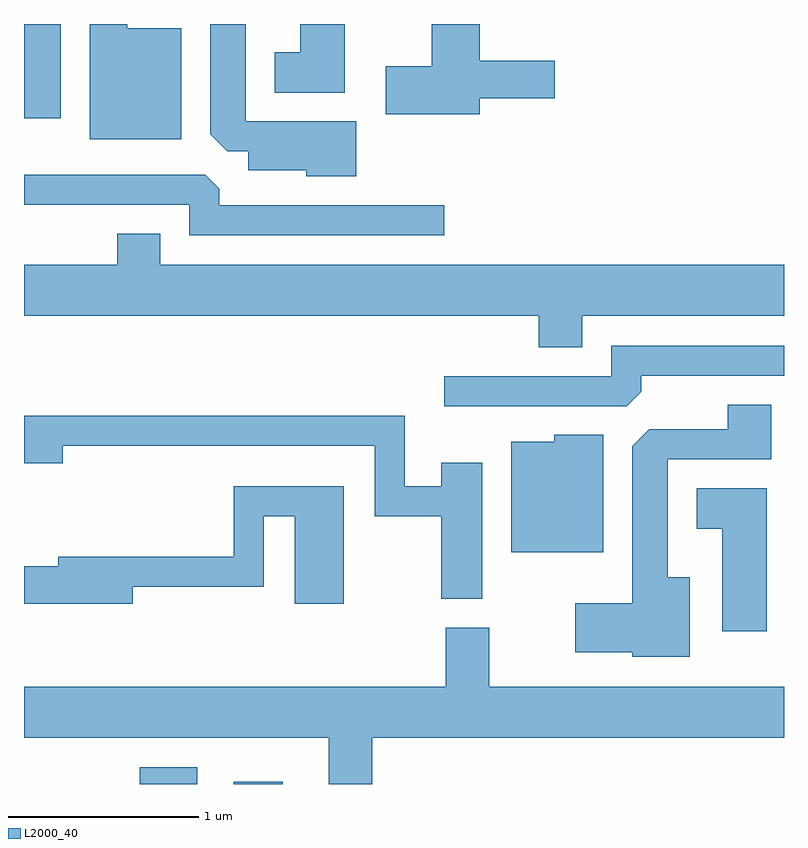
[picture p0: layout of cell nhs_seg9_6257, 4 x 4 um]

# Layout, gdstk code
import gdstk
lib = gdstk.Library(unit=1e-6, precision=1e-09)
def R(c, l, rs):  # rectangles x0, y0, x1, y1
    for r in rs: c.add(gdstk.rectangle(r[:2], r[2:], *l))
def P(c, l, *ps):  # polygons
    for p in ps: c.add(gdstk.Polygon(p, *l))
L2000_40 = (2000, 40)

nhs_seg9_6257 = lib.new_cell('nhs_seg9_6257')
R(nhs_seg9_6257, L2000_40, [(370.221,2020.432,370.524,2020.519), (370.716,2020.432,370.974,2020.444), (369.611,2023.936,369.804,2024.432)])
P(nhs_seg9_6257, L2000_40, [(371.299,2024.432),(371.066,2024.432),(371.066,2024.284),(370.931,2024.284),(370.931,2024.071),(371.299,2024.071)],
  [(370.439,2024.409),(370.154,2024.409),(370.154,2024.432),(369.956,2024.432),(369.956,2023.826),(370.439,2023.826)],
  [(371.359,2023.919),(370.779,2023.919),(370.779,2024.432),(370.591,2024.432),(370.591,2023.852),(370.682,2023.761),(370.791,2023.761),(370.791,2023.661),(371.096,2023.661),(371.096,2023.631),(371.359,2023.631)],
  [(372.009,2024.041),(372.404,2024.041),(372.404,2024.239),(372.009,2024.239),(372.009,2024.432),(371.756,2024.432),(371.756,2024.209),(371.516,2024.209),(371.516,2023.956),(372.009,2023.956)],
  [(371.823,2023.479),(370.639,2023.479),(370.639,2023.564),(370.564,2023.639),(369.611,2023.639),(369.611,2023.481),(370.481,2023.481),(370.481,2023.321),(371.823,2023.321)],
  [(372.549,2022.896),(373.611,2022.896),(373.611,2023.164),(370.329,2023.164),(370.329,2023.329),(370.101,2023.329),(370.101,2023.164),(369.611,2023.164),(369.611,2022.896),(372.321,2022.896),(372.321,2022.731),(372.549,2022.731)],
  [(372.859,2022.497),(372.859,2022.581),(373.611,2022.581),(373.611,2022.739),(372.701,2022.739),(372.701,2022.579),(371.823,2022.579),(371.823,2022.421),(372.784,2022.421)],
  [(373.114,2021.519),(372.999,2021.519),(372.999,2022.141),(373.544,2022.141),(373.544,2022.429),(373.316,2022.429),(373.316,2022.299),(372.902,2022.299),(372.811,2022.209),(372.811,2021.384),(372.511,2021.384),(372.511,2021.126),(372.811,2021.126),(372.811,2021.101),(373.114,2021.101)],
  [(372.024,2022.124),(371.806,2022.124),(371.806,2021.999),(371.614,2021.999),(371.614,2022.369),(369.611,2022.369),(369.611,2022.121),(369.814,2022.121),(369.814,2022.211),(371.456,2022.211),(371.456,2021.841),(371.806,2021.841),(371.806,2021.406),(372.024,2021.406)],
  [(372.659,2022.269),(372.401,2022.269),(372.401,2022.234),(372.176,2022.234),(372.176,2021.651),(372.659,2021.651)],
  [(370.184,2021.471),(370.874,2021.471),(370.874,2021.841),(371.036,2021.841),(371.036,2021.381),(371.294,2021.381),(371.294,2021.999),(370.716,2021.999),(370.716,2021.629),(369.791,2021.629),(369.791,2021.579),(369.611,2021.579),(369.611,2021.381),(370.184,2021.381)],
  [(373.519,2021.989),(373.151,2021.989),(373.151,2021.776),(373.286,2021.776),(373.286,2021.236),(373.519,2021.236)],
  [(371.444,2020.676),(373.611,2020.676),(373.611,2020.944),(372.059,2020.944),(372.059,2021.254),(371.831,2021.254),(371.831,2020.944),(369.611,2020.944),(369.611,2020.676),(371.216,2020.676),(371.216,2020.432),(371.444,2020.432)])

lib.write_gds('nhs_seg9_6257.gds')
